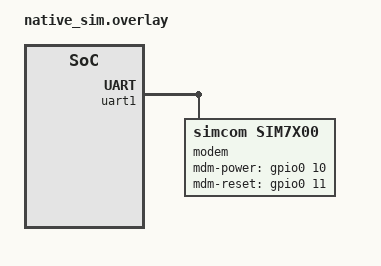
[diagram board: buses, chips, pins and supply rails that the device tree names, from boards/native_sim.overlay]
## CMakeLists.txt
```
# SPDX-License-Identifier: Apache-2.0

cmake_minimum_required(VERSION 3.20.0)
find_package(Zephyr REQUIRED HINTS $ENV{ZEPHYR_BASE})
project(simcom7x00_modem_build)

target_sources(app PRIVATE src/main.c)
```

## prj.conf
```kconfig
CONFIG_GPIO=y
CONFIG_SERIAL=y
CONFIG_MODEM=y
CONFIG_NETWORKING=y
CONFIG_NET_L2_PPP=y
CONFIG_PM_DEVICE=y
CONFIG_UART_INTERRUPT_DRIVEN=y
CONFIG_MODEM_SIMCOM7X00=y
```

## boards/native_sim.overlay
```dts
&uart1 {
	modem {
		compatible = "simcom,sim7x00";
		status = "okay";
		mdm-power-gpios = <&gpio0 10 0>;
		mdm-reset-gpios = <&gpio0 11 0>;
	};
};
```

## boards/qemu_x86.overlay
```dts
/ {
	test {
		#address-cells = <1>;
		#size-cells = <1>;

		test_gpio: gpio@deadbeef {
			compatible = "vnd,gpio";
			gpio-controller;
			reg = <0xdeadbeef 0x1000>;
			#gpio-cells = <2>;
			status = "okay";
		};

		test_uart: uart@55556666 {
			compatible = "vnd,serial";
			reg = <0x55556666 0x1000>;
			status = "okay";

			modem {
				compatible = "simcom,sim7x00";
				status = "okay";
				mdm-power-gpios = <&test_gpio 0 0>;
				mdm-reset-gpios = <&test_gpio 0 0>;
			};
		};
	};
};
```

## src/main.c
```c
/*
 * SPDX-License-Identifier: Apache-2.0
 */

#include <zephyr/device.h>
#include <zephyr/drivers/modem/simcom7x00.h>
#include <zephyr/drivers/cellular.h>
#include <zephyr/devicetree.h>
#include <zephyr/sys/util.h>

int main(void)
{
	const struct device *modem = DEVICE_DT_GET(DT_PATH(test, uart_55556666, modem));
	uint32_t interval_ms;
	enum simcom7x00_ppp_state ppp_state;
	enum simcom7x00_sim_state sim_state;
	enum simcom7x00_sim_presence sim_presence;
	enum simcom7x00_rat rat;
	enum simcom7x00_rat_mode rat_mode;
	char apn[32];
	char serial[32];
	char fw[80];
	struct simcom7x00_operator op;
	struct simcom7x00_network_status net_status;
	struct simcom7x00_rat_policy rat_policy = {
		.priorities = {
			SIMCOM7X00_RAT_LTE,
			SIMCOM7X00_RAT_UMTS,
			SIMCOM7X00_RAT_GSM,
		},
		.size = 3,
	};
	struct simcom7x00_control_diagnostics diagnostics;
	const struct cellular_network *supported_networks;
	uint8_t supported_networks_size;
	const struct cellular_network network_cfg[] = {
		{ .technology = CELLULAR_ACCESS_TECHNOLOGY_LTE, .bands = NULL, .size = 0 },
		{ .technology = CELLULAR_ACCESS_TECHNOLOGY_UMTS, .bands = NULL, .size = 0 },
	};

	(void)simcom7x00_get_signal_poll_interval(modem, &interval_ms);
	(void)simcom7x00_set_signal_poll_interval(modem, 0U);
	(void)simcom7x00_set_signal_poll_interval(modem, 2000U);
	(void)simcom7x00_get_ppp_state(modem, &ppp_state);
	(void)simcom7x00_ppp_connect(modem);
	(void)simcom7x00_ppp_disconnect(modem);
	(void)simcom7x00_set_apn(modem, "internet");
	(void)simcom7x00_get_apn(modem, apn, sizeof(apn));
	(void)simcom7x00_get_network_status(modem, &net_status);
	(void)simcom7x00_get_operator(modem, &op);
	(void)simcom7x00_get_current_rat(modem, &rat);
	(void)simcom7x00_set_rat_mode(modem, SIMCOM7X00_RAT_MODE_4G_ONLY);
	(void)simcom7x00_get_rat_mode(modem, &rat_mode);
	(void)simcom7x00_set_rat_policy(modem, &rat_policy);
	(void)simcom7x00_get_rat_policy(modem, &rat_policy);
	(void)simcom7x00_get_control_diagnostics(modem, &diagnostics);
	(void)simcom7x00_get_serial_number(modem, serial, sizeof(serial));
	(void)simcom7x00_get_firmware_version(modem, fw, sizeof(fw));
	(void)simcom7x00_get_sim_state(modem, &sim_state);
	(void)simcom7x00_get_sim_presence(modem, &sim_presence);
	(void)cellular_get_supported_networks(modem, &supported_networks, &supported_networks_size);
	(void)cellular_configure_networks(modem, network_cfg, ARRAY_SIZE(network_cfg));

	return 0;
}
```
